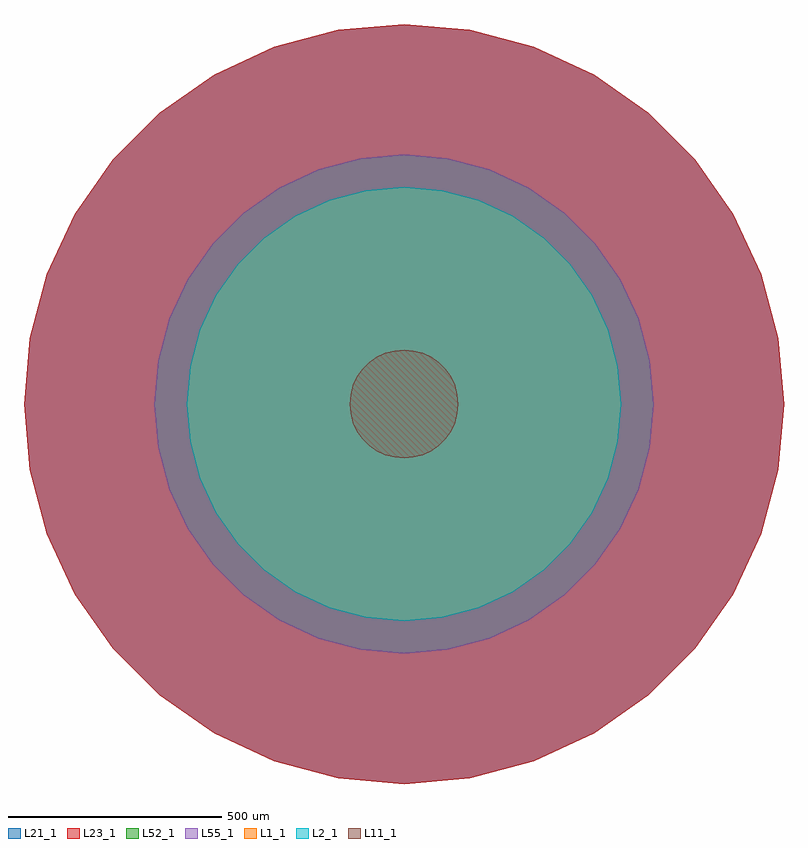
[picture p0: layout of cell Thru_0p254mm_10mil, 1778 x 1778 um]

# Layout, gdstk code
import gdstk
lib = gdstk.Library(unit=1e-6, precision=1e-09)
def P(c, l, *ps):  # polygons
    for p in ps: c.add(gdstk.Polygon(p, *l))
L1_1 = (1, 1)
L2_1 = (2, 1)
L11_1 = (11, 1)
L21_1 = (21, 1)
L23_1 = (23, 1)
L52_1 = (52, 1)
L55_1 = (55, 1)

thru_0p254mm_10mil = lib.new_cell('Thru_0p254mm_10mil')
P(thru_0p254mm_10mil, L1_1, [(508,0),(500.282,-88.213),(477.364,-173.746),(439.941,-254),(389.151,-326.536),(326.536,-389.151),(254,-439.941),(173.746,-477.364),(88.213,-500.282),(0,-508),(-88.213,-500.282),(-173.746,-477.364),(-254,-439.941),(-326.536,-389.151),(-389.151,-326.536),(-439.941,-254),(-477.364,-173.746),(-500.282,-88.213),(-508,0),(-500.282,88.213),(-477.364,173.746),(-439.941,254),(-389.151,326.536),(-326.536,389.151),(-254,439.941),(-173.746,477.364),(-88.213,500.282),(0,508),(88.213,500.282),(173.746,477.364),(254,439.941),(326.536,389.151),(389.151,326.536),(439.941,254),(477.364,173.746),(500.282,88.213)])
P(thru_0p254mm_10mil, L2_1, [(508,0),(500.282,-88.213),(477.364,-173.746),(439.941,-254),(389.151,-326.536),(326.536,-389.151),(254,-439.941),(173.746,-477.364),(88.213,-500.282),(0,-508),(-88.213,-500.282),(-173.746,-477.364),(-254,-439.941),(-326.536,-389.151),(-389.151,-326.536),(-439.941,-254),(-477.364,-173.746),(-500.282,-88.213),(-508,0),(-500.282,88.213),(-477.364,173.746),(-439.941,254),(-389.151,326.536),(-326.536,389.151),(-254,439.941),(-173.746,477.364),(-88.213,500.282),(0,508),(88.213,500.282),(173.746,477.364),(254,439.941),(326.536,389.151),(389.151,326.536),(439.941,254),(477.364,173.746),(500.282,88.213)])
P(thru_0p254mm_10mil, L11_1, [(127,0),(125.071,-22.053),(119.341,-43.437),(109.985,-63.5),(97.288,-81.634),(81.634,-97.288),(63.5,-109.985),(43.437,-119.341),(22.053,-125.071),(0,-127),(-22.053,-125.071),(-43.437,-119.341),(-63.5,-109.985),(-81.634,-97.288),(-97.288,-81.634),(-109.985,-63.5),(-119.341,-43.437),(-125.071,-22.053),(-127,0),(-125.071,22.053),(-119.341,43.437),(-109.985,63.5),(-97.288,81.634),(-81.634,97.288),(-63.5,109.985),(-43.437,119.341),(-22.053,125.071),(0,127),(22.053,125.071),(43.437,119.341),(63.5,109.985),(81.634,97.288),(97.288,81.634),(109.985,63.5),(119.341,43.437),(125.071,22.053)])
P(thru_0p254mm_10mil, L21_1, [(889,0),(875.494,-154.373),(835.387,-304.056),(769.897,-444.5),(681.014,-571.438),(571.438,-681.014),(444.5,-769.897),(304.056,-835.387),(154.373,-875.494),(0,-889),(-154.373,-875.494),(-304.056,-835.387),(-444.5,-769.897),(-571.438,-681.014),(-681.014,-571.438),(-769.897,-444.5),(-835.387,-304.056),(-875.494,-154.373),(-889,0),(-875.494,154.373),(-835.387,304.056),(-769.897,444.5),(-681.014,571.438),(-571.438,681.014),(-444.5,769.897),(-304.056,835.387),(-154.373,875.494),(0,889),(154.373,875.494),(304.056,835.387),(444.5,769.897),(571.438,681.014),(681.014,571.438),(769.897,444.5),(835.387,304.056),(875.494,154.373)])
P(thru_0p254mm_10mil, L23_1, [(889,0),(875.494,-154.373),(835.387,-304.056),(769.897,-444.5),(681.014,-571.438),(571.438,-681.014),(444.5,-769.897),(304.056,-835.387),(154.373,-875.494),(0,-889),(-154.373,-875.494),(-304.056,-835.387),(-444.5,-769.897),(-571.438,-681.014),(-681.014,-571.438),(-769.897,-444.5),(-835.387,-304.056),(-875.494,-154.373),(-889,0),(-875.494,154.373),(-835.387,304.056),(-769.897,444.5),(-681.014,571.438),(-571.438,681.014),(-444.5,769.897),(-304.056,835.387),(-154.373,875.494),(0,889),(154.373,875.494),(304.056,835.387),(444.5,769.897),(571.438,681.014),(681.014,571.438),(769.897,444.5),(835.387,304.056),(875.494,154.373)])
P(thru_0p254mm_10mil, L52_1, [(584,0),(575.128,-101.411),(548.78,-199.74),(505.759,-292),(447.37,-375.388),(375.388,-447.37),(292,-505.759),(199.74,-548.78),(101.411,-575.128),(0,-584),(-101.411,-575.128),(-199.74,-548.78),(-292,-505.759),(-375.388,-447.37),(-447.37,-375.388),(-505.759,-292),(-548.78,-199.74),(-575.128,-101.411),(-584,0),(-575.128,101.411),(-548.78,199.74),(-505.759,292),(-447.37,375.388),(-375.388,447.37),(-292,505.759),(-199.74,548.78),(-101.411,575.128),(0,584),(101.411,575.128),(199.74,548.78),(292,505.759),(375.388,447.37),(447.37,375.388),(505.759,292),(548.78,199.74),(575.128,101.411)])
P(thru_0p254mm_10mil, L55_1, [(584,0),(575.128,-101.411),(548.78,-199.74),(505.759,-292),(447.37,-375.388),(375.388,-447.37),(292,-505.759),(199.74,-548.78),(101.411,-575.128),(0,-584),(-101.411,-575.128),(-199.74,-548.78),(-292,-505.759),(-375.388,-447.37),(-447.37,-375.388),(-505.759,-292),(-548.78,-199.74),(-575.128,-101.411),(-584,0),(-575.128,101.411),(-548.78,199.74),(-505.759,292),(-447.37,375.388),(-375.388,447.37),(-292,505.759),(-199.74,548.78),(-101.411,575.128),(0,584),(101.411,575.128),(199.74,548.78),(292,505.759),(375.388,447.37),(447.37,375.388),(505.759,292),(548.78,199.74),(575.128,101.411)])
thru_0p254mm_10mil.add(gdstk.FlexPath([(50,0),(-50,0)], 0, ends="round", simple_path=True, layer=1, datatype=1))  # L1_1
thru_0p254mm_10mil.add(gdstk.FlexPath([(0,-50),(0,50)], 0, ends="round", simple_path=True, layer=1, datatype=1))  # L1_1
thru_0p254mm_10mil.add(gdstk.FlexPath([(0,-50),(0,50)], 0, ends="round", simple_path=True, layer=1, datatype=1))  # L1_1
thru_0p254mm_10mil.add(gdstk.FlexPath([(0,50),(0,-50)], 0, ends="round", simple_path=True, layer=1, datatype=1))  # L1_1
thru_0p254mm_10mil.add(gdstk.FlexPath([(-50,0),(50,0)], 0, ends="round", simple_path=True, layer=1, datatype=1))  # L1_1
thru_0p254mm_10mil.add(gdstk.FlexPath([(50,0),(-50,0)], 0, ends="round", simple_path=True, layer=1, datatype=1))  # L1_1
thru_0p254mm_10mil.add(gdstk.FlexPath([(0,50),(0,-50)], 0, ends="round", simple_path=True, layer=1, datatype=1))  # L1_1
thru_0p254mm_10mil.add(gdstk.FlexPath([(-50,0),(50,0)], 0, ends="round", simple_path=True, layer=1, datatype=1))  # L1_1

lib.write_gds('Thru_0p254mm_10mil.gds')
